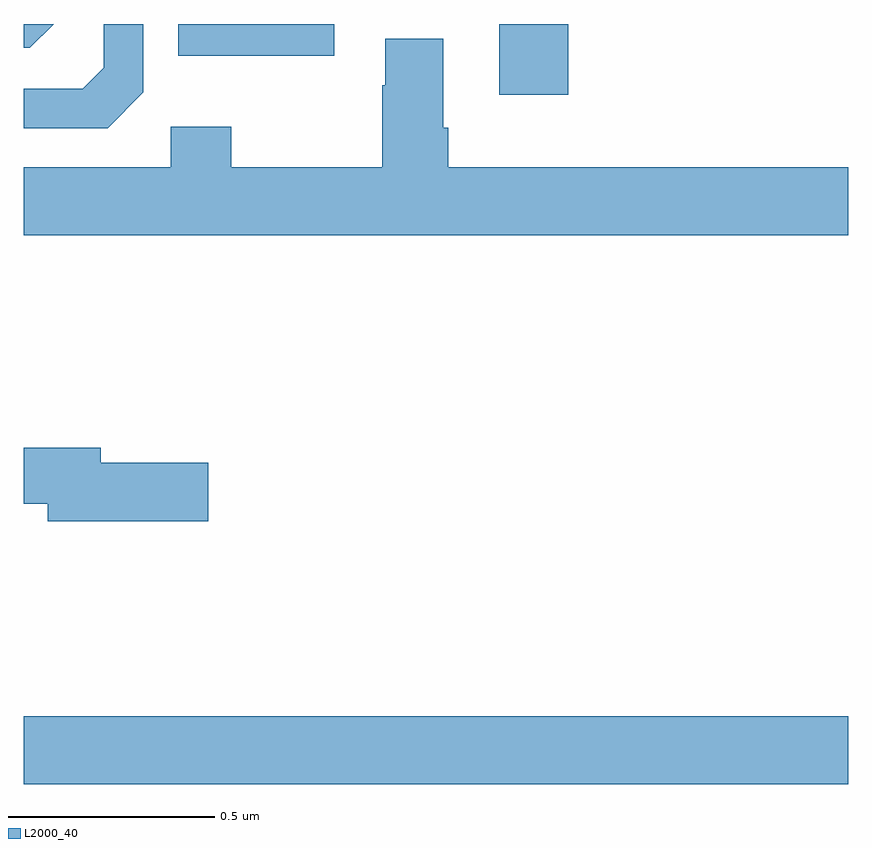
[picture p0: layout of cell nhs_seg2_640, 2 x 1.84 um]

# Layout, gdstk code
import gdstk
lib = gdstk.Library(unit=1e-6, precision=1e-09)
def R(c, l, rs):  # rectangles x0, y0, x1, y1
    for r in rs: c.add(gdstk.rectangle(r[:2], r[2:], *l))
def P(c, l, *ps):  # polygons
    for p in ps: c.add(gdstk.Polygon(p, *l))
L2000_40 = (2000, 40)

nhs_seg2_640 = lib.new_cell('nhs_seg2_640')
R(nhs_seg2_640, L2000_40, [(118,660.956,120,661.12), (119.153,662.628,119.321,662.8), (118.375,662.723,118.753,662.8)])
P(nhs_seg2_640, L2000_40, [(118.29,662.634),(118.29,662.8),(118.194,662.8),(118.194,662.694),(118.143,662.643),(118,662.643),(118,662.547),(118.203,662.547)],
  [(118.072,662.8),(118,662.8),(118,662.742),(118.014,662.742)],
  [(120,662.452),(119.03,662.452),(119.03,662.548),(119.017,662.548),(119.017,662.764),(118.877,662.764),(118.877,662.651),(118.87,662.651),(118.87,662.452),(118.503,662.452),(118.503,662.551),(118.356,662.551),(118.356,662.452),(118,662.452),(118,662.288),(120,662.288)],
  [(118.447,661.736),(118.186,661.736),(118.186,661.772),(118,661.772),(118,661.636),(118.058,661.636),(118.058,661.594),(118.447,661.594)])

lib.write_gds('nhs_seg2_640.gds')
